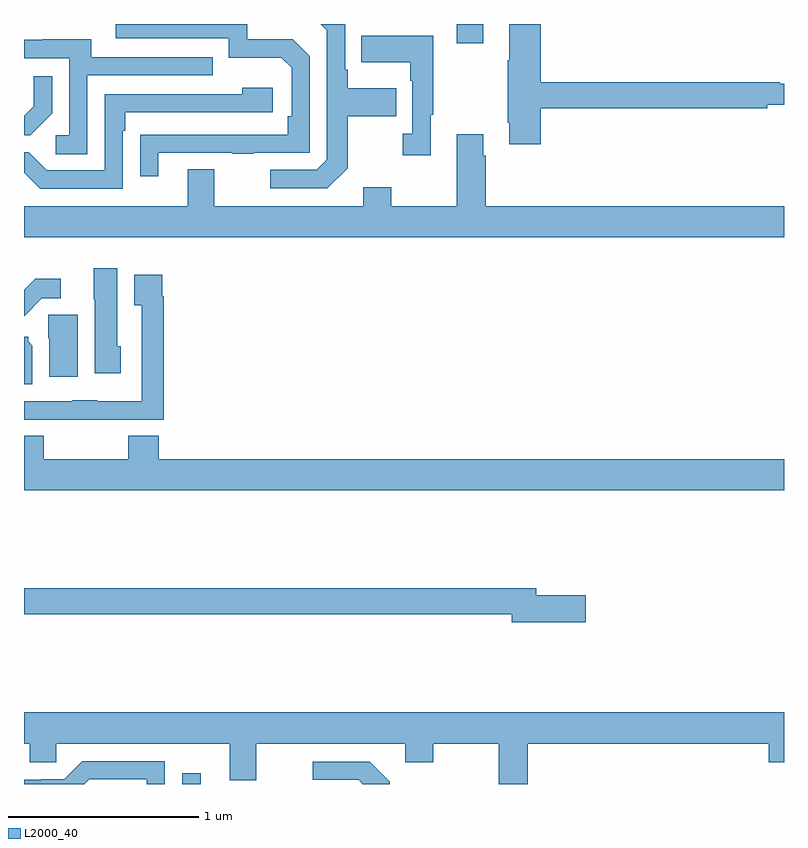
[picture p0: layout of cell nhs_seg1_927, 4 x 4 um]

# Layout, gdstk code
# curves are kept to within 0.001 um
import gdstk
lib = gdstk.Library(unit=1e-6, precision=1e-09)
def R(c, l, rs):  # rectangles x0, y0, x1, y1
    for r in rs: c.add(gdstk.rectangle(r[:2], r[2:], *l))
def P(c, l, *ps):  # polygons
    for p in ps: c.add(gdstk.Polygon(p, *l))
L2000_40 = (2000, 40)

nhs_seg1_927 = lib.new_cell('nhs_seg1_927')
R(nhs_seg1_927, L2000_40, [(161.833,538.199,161.929,538.255), (163.277,542.097,163.417,542.199)])
P(nhs_seg1_927, L2000_40, [(161.707,541.521),(162.097,541.521),(162.097,541.516),(162.209,541.516),(162.209,541.521),(162.504,541.521),(162.504,542.028),(162.414,542.118),(162.174,542.118),(162.174,542.199),(161.483,542.199),(161.483,542.124),(162.078,542.124),(162.078,542.021),(162.355,542.021),(162.408,541.968),(162.408,541.714),(162.388,541.714),(162.388,541.617),(161.611,541.616),(161.611,541.398),(161.707,541.398)],
  [(163.721,541.756),(164.912,541.756),(164.912,541.775),(165,541.775),(165,541.885),(164.978,541.885),(164.978,541.892),(163.721,541.892),(163.721,542.199),(163.553,542.199),(163.553,542.009),(163.546,542.009),(163.546,541.678),(163.553,541.678),(163.553,541.566),(163.721,541.566)],
  [(162.703,541.441),(162.703,541.714),(162.959,541.714),(162.959,541.861),(162.703,541.861),(162.703,541.957),(162.69,541.957),(162.69,542.199),(162.561,542.199),(162.594,542.166),(162.594,541.485),(162.54,541.431),(162.297,541.431),(162.297,541.335),(162.597,541.335)],
  [(163.141,541.721),(163.153,541.721),(163.153,542.137),(162.775,542.137),(162.775,541.997),(163.032,541.997),(163.032,541.901),(163.044,541.901),(163.044,541.622),(162.993,541.622),(162.993,541.509),(163.141,541.509)],
  [(161.334,541.929),(161.993,541.929),(161.993,542.025),(161.353,542.025),(161.353,542.119),(161.099,542.119),(161.099,542.115),(161,542.115),(161,542.019),(161.238,542.019),(161.238,541.614),(161.166,541.614),(161.166,541.513),(161.334,541.513)],
  [(161.148,541.73),(161.148,541.924),(161.051,541.924),(161.051,541.767),(161,541.716),(161,541.614),(161.032,541.614)],
  [(161.52,541.637),(161.533,541.637),(161.533,541.734),(162.31,541.734),(162.31,541.864),(162.149,541.864),(162.149,541.83),(161.424,541.83),(161.424,541.428),(161.121,541.428),(161.025,541.524),(161,541.524),(161,541.417),(161.085,541.332),(161.52,541.332)],
  [(165,541.24),(163.43,541.24),(163.43,541.505),(163.417,541.505),(163.417,541.618),(163.277,541.618),(163.277,541.24),(162.933,541.24),(162.933,541.339),(162.785,541.339),(162.785,541.24),(162.001,541.24),(162.001,541.435),(161.861,541.435),(161.861,541.24),(161,541.24),(161,541.076),(165,541.076)],
  [(161.509,540.504),(161.491,540.504),(161.491,540.913),(161.366,540.913),(161.366,540.75),(161.372,540.75),(161.372,540.36),(161.509,540.36)],
  [(161.485,540.117),(161.735,540.117),(161.735,540.767),(161.728,540.767),(161.728,540.88),(161.579,540.88),(161.579,540.719),(161.619,540.719),(161.619,540.214),(161.385,540.214),(161.385,540.22),(161.253,540.22),(161.253,540.213),(161,540.213),(161,540.117),(161.253,540.117),(161.253,540.116),(161.485,540.116)],
  [(161.094,540.756),(161.194,540.756),(161.194,540.859),(161.059,540.859),(161,540.8),(161,540.662)],
  [(161.284,540.669),(161.128,540.669),(161.128,540.546),(161.132,540.546),(161.132,540.342),(161.284,540.342)],
  [(161.044,540.506),(161.022,540.528),(161.022,540.553),(161,540.553),(161,540.302),(161.044,540.302)],
  [(165,539.908),(161.708,539.908),(161.708,540.032),(161.548,540.032),(161.548,539.908),(161.103,539.908),(161.103,540.032),(161,540.032),(161,539.744),(165,539.744)],
  [(163.957,539.192),(163.696,539.192),(163.696,539.228),(161,539.228),(161,539.092),(163.568,539.092),(163.568,539.05),(163.957,539.05)],
  [(163.652,538.412),(164.921,538.412),(164.921,538.313),(165,538.313),(165,538.576),(161,538.576),(161,538.412),(161.031,538.412),(161.031,538.314),(161.169,538.314),(161.169,538.412),(162.083,538.412),(162.083,538.218),(162.223,538.218),(162.223,538.412),(163.007,538.412),(163.007,538.313),(163.155,538.313),(163.155,538.412),(163.499,538.412),(163.499,538.199),(163.652,538.199)],
  [(161.343,538.224),(161.646,538.224),(161.646,538.199),(161.742,538.199),(161.742,538.32),(161.307,538.32),(161.211,538.224),(161.093,538.224),(161.093,538.221),(161,538.221),(161,538.199),(161.318,538.199)],
  [(162.925,538.211),(162.819,538.317),(162.519,538.317),(162.519,538.221),(162.762,538.221),(162.784,538.199),(162.925,538.199)])

lib.write_gds('nhs_seg1_927.gds')
